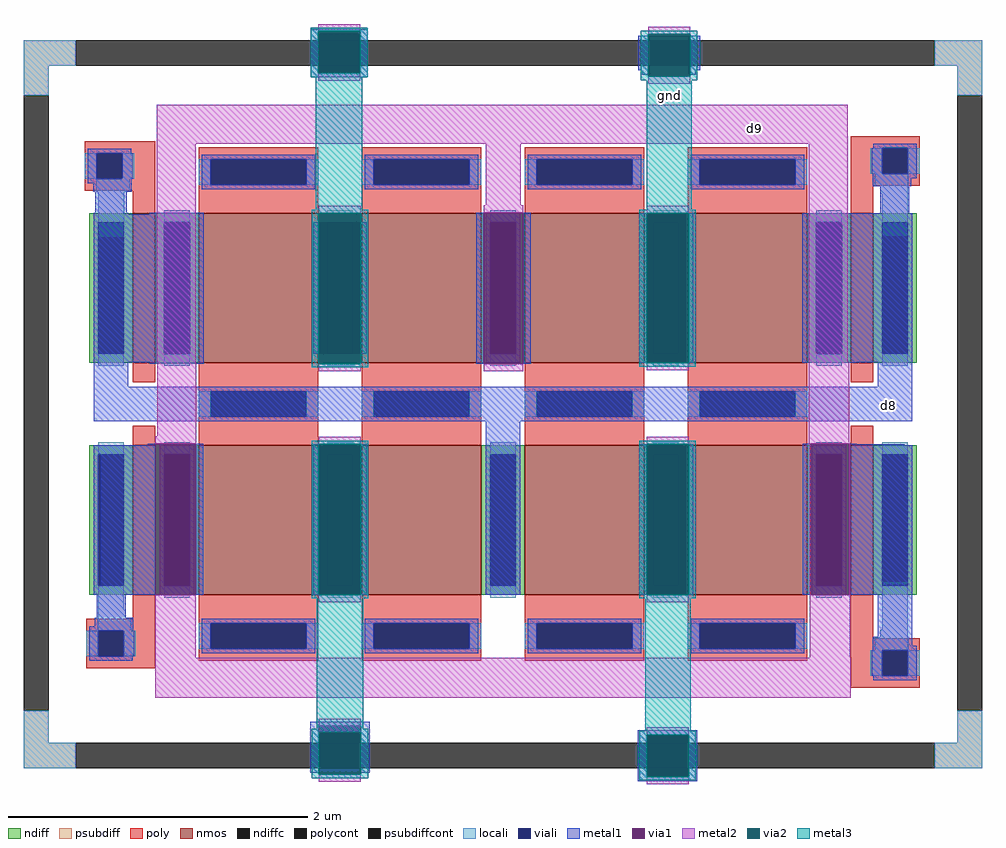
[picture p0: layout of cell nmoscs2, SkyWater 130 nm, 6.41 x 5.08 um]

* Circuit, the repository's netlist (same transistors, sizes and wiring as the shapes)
** sch_path: /home/fazya09/opamp/mag/nmoscs2.sch
.subckt nmoscs2 GND D8 D9
*.PININFO GND:B D8:B D9:B
XM9 D9 D8 GND GND sky130_fd_pr__nfet_01v8 L=0.8 W=1 nf=1 m=4
XM8 D8 D8 GND GND sky130_fd_pr__nfet_01v8 L=0.8 W=1 nf=1 m=4
XM1 D9 D9 D9 GND sky130_fd_pr__nfet_01v8 L=0.15 W=1 nf=1 m=2
XM2 D8 D8 D8 GND sky130_fd_pr__nfet_01v8 L=0.15 W=1 nf=1 m=2
.ends
.end

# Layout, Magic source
magic
tech sky130A
magscale 1 2
<< psubdiff >>
rect -176 795 -106 829
rect 1042 795 1106 829
rect -176 756 -142 795
rect 1072 756 1106 795
rect -176 -110 -142 -67
rect 1072 -110 1106 -67
rect -176 -144 -106 -110
rect 1042 -144 1106 -110
<< psubdiffcont >>
rect -106 795 1042 829
rect -176 -67 -142 756
rect 1072 -67 1106 756
rect -106 -144 1042 -110
<< poly >>
rect -94 678 0 694
rect -94 644 -78 678
rect -44 644 0 678
rect -94 628 0 644
rect -30 623 0 628
rect 930 685 1022 701
rect 930 651 972 685
rect 1006 651 1022 685
rect 930 635 1022 651
rect 930 624 960 635
rect -30 56 0 88
rect -92 40 0 56
rect -92 6 -76 40
rect -42 6 0 40
rect -92 -10 0 6
rect 930 30 960 62
rect 930 14 1022 30
rect 930 -20 972 14
rect 1006 -20 1022 14
rect 930 -36 1022 -20
<< polycont >>
rect -78 644 -44 678
rect 972 651 1006 685
rect -76 6 -42 40
rect 972 -20 1006 14
<< locali >>
rect -176 795 -106 829
rect 1042 795 1106 829
rect -176 756 -142 795
rect 1072 756 1106 795
rect 972 685 1006 686
rect -94 644 -78 678
rect -44 644 -28 678
rect 956 651 972 685
rect 1006 651 1022 685
rect -79 627 -34 644
rect 962 634 1007 651
rect -76 567 -41 627
rect 969 624 1006 634
rect 972 568 1006 624
rect -76 67 -42 88
rect -76 57 -39 67
rect -77 40 -32 57
rect 972 41 1006 104
rect -92 6 -76 40
rect -42 6 -26 40
rect 969 31 1006 41
rect 962 14 1007 31
rect -76 5 -42 6
rect 956 -20 972 14
rect 1006 -20 1022 14
rect 972 -21 1006 -20
rect -176 -110 -142 -67
rect 275 -110 280 -109
rect 1072 -110 1106 -67
rect -176 -144 -106 -110
rect 1042 -144 1106 -110
<< viali >>
rect 220 829 272 838
rect 220 795 272 829
rect 658 795 717 829
rect 220 786 272 795
rect -78 644 -44 678
rect 972 651 1006 685
rect -76 6 -42 40
rect 972 -20 1006 14
rect 219 -110 275 -88
rect 657 -110 713 -99
rect 219 -144 275 -110
rect 657 -144 713 -110
rect 657 -155 713 -144
<< metal1 >>
rect 208 838 284 844
rect 208 786 220 838
rect 272 786 284 838
rect 646 829 661 835
rect 713 829 729 835
rect 646 795 658 829
rect 717 795 729 829
rect 646 789 661 795
rect 208 780 284 786
rect 651 783 661 789
rect 713 789 729 795
rect 713 783 723 789
rect 960 685 1018 691
rect -90 678 -32 684
rect -90 644 -78 678
rect -44 644 -30 678
rect 958 651 972 685
rect 1006 651 1018 685
rect 959 645 1018 651
rect -90 638 -31 644
rect -83 627 -31 638
rect 959 634 1011 645
rect -80 599 -38 627
rect -82 597 -36 599
rect -7 597 65 599
rect -82 399 65 597
rect 211 410 221 586
rect 273 410 283 586
rect -82 366 -36 399
rect -7 397 65 399
rect 429 397 439 599
rect 492 397 502 599
rect 969 598 1008 634
rect 647 398 657 598
rect 709 398 719 598
rect 865 399 1012 598
rect 865 398 937 399
rect 966 366 1012 399
rect -82 320 1012 366
rect -10 288 0 290
rect -73 88 0 288
rect 54 88 64 290
rect 211 88 221 289
rect 273 88 283 289
rect 442 88 488 320
rect 647 88 657 289
rect 709 88 719 289
rect 866 88 876 290
rect 928 289 938 290
rect 928 288 1002 289
rect 928 88 1012 288
rect -78 57 -39 88
rect -81 46 -29 57
rect -88 40 -29 46
rect -88 6 -76 40
rect -42 6 -28 40
rect 966 32 1012 88
rect 961 31 1012 32
rect 959 20 1012 31
rect 959 14 1018 20
rect -88 0 -30 6
rect 958 -20 972 14
rect 1006 -20 1018 14
rect 960 -26 1018 -20
rect 207 -88 287 -82
rect 207 -144 219 -88
rect 275 -144 287 -88
rect 207 -150 287 -144
rect 645 -99 725 -93
rect 645 -155 657 -99
rect 713 -155 725 -99
rect 645 -161 725 -155
<< via1 >>
rect 220 786 272 838
rect 661 829 713 835
rect 661 795 713 829
rect 661 783 713 795
rect 221 410 273 586
rect 439 397 492 599
rect 657 398 709 598
rect 0 88 54 290
rect 221 88 273 289
rect 657 88 709 289
rect 876 88 928 290
rect 219 -144 275 -88
rect 657 -155 713 -99
<< metal2 >>
rect 218 841 274 851
rect 218 775 274 785
rect 659 837 715 847
rect 659 771 715 781
rect 2 691 926 743
rect 2 397 54 691
rect 442 609 489 691
rect 219 598 275 608
rect 3 300 55 397
rect 219 387 275 397
rect 439 599 492 609
rect 439 387 492 397
rect 657 598 713 608
rect 657 388 713 398
rect 874 398 926 691
rect 0 291 55 300
rect 0 290 54 291
rect 0 4 54 88
rect 219 289 275 299
rect 219 78 275 88
rect 657 289 713 299
rect 874 291 928 398
rect 874 290 929 291
rect 657 78 713 88
rect 875 88 876 290
rect 928 88 929 290
rect 875 4 929 88
rect 0 -50 930 4
rect 219 -88 275 -78
rect 219 -162 275 -152
rect 657 -99 713 -89
rect 657 -165 713 -155
<< via2 >>
rect 218 838 274 841
rect 218 786 220 838
rect 220 786 272 838
rect 272 786 274 838
rect 218 785 274 786
rect 659 835 715 837
rect 659 783 661 835
rect 661 783 713 835
rect 713 783 715 835
rect 659 781 715 783
rect 219 586 275 598
rect 219 410 221 586
rect 221 410 273 586
rect 273 410 275 586
rect 219 397 275 410
rect 657 398 709 598
rect 709 398 713 598
rect 219 88 221 289
rect 221 88 273 289
rect 273 88 275 289
rect 657 88 709 289
rect 709 88 713 289
rect 219 -144 275 -96
rect 219 -152 275 -144
rect 657 -155 713 -99
<< metal3 >>
rect 208 841 284 846
rect 208 785 218 841
rect 274 785 284 841
rect 208 780 284 785
rect 649 837 725 842
rect 649 781 659 837
rect 715 781 725 837
rect 215 603 277 780
rect 649 776 725 781
rect 657 603 717 776
rect 209 598 285 603
rect 209 397 219 598
rect 275 397 285 598
rect 209 392 285 397
rect 647 598 723 603
rect 647 398 657 598
rect 713 398 723 598
rect 647 393 723 398
rect 209 289 285 294
rect 209 88 219 289
rect 275 88 285 289
rect 209 83 285 88
rect 647 289 723 294
rect 647 88 657 289
rect 713 88 723 289
rect 647 83 723 88
rect 216 -91 278 83
rect 209 -96 285 -91
rect 655 -94 716 83
rect 209 -152 219 -96
rect 275 -152 285 -96
rect 209 -157 285 -152
rect 647 -99 723 -94
rect 647 -155 657 -99
rect 713 -155 723 -99
rect 647 -160 723 -155
use sky130_fd_pr__nfet_01v8_6MBC9T  sky130_fd_pr__nfet_01v8_6MBC9T_0
transform 1 0 683 0 1 188
box -247 -188 247 188
use sky130_fd_pr__nfet_01v8_6MBC9T  sky130_fd_pr__nfet_01v8_6MBC9T_1
transform 1 0 247 0 1 188
box -247 -188 247 188
use sky130_fd_pr__nfet_01v8_6MBC9T  sky130_fd_pr__nfet_01v8_6MBC9T_2
transform 1 0 247 0 1 498
box -247 -188 247 188
use sky130_fd_pr__nfet_01v8_6MBC9T  sky130_fd_pr__nfet_01v8_6MBC9T_3
transform 1 0 683 0 1 498
box -247 -188 247 188
use sky130_fd_pr__nfet_01v8_SJFSNB  sky130_fd_pr__nfet_01v8_SJFSNB_0
transform 1 0 945 0 1 188
box -73 -126 73 126
use sky130_fd_pr__nfet_01v8_SJFSNB  sky130_fd_pr__nfet_01v8_SJFSNB_1
transform 1 0 -15 0 1 498
box -73 -126 73 126
use sky130_fd_pr__nfet_01v8_SJFSNB  sky130_fd_pr__nfet_01v8_SJFSNB_2
transform 1 0 -15 0 1 188
box -73 -126 73 126
use sky130_fd_pr__nfet_01v8_SJFSNB  sky130_fd_pr__nfet_01v8_SJFSNB_3
transform 1 0 945 0 1 498
box -73 -126 73 126
<< labels >>
flabel metal2 792 702 811 721 0 FreeSans 480 0 0 0 d9
port 0 nsew
flabel metal3 687 754 689 756 0 FreeSans 480 0 0 0 gnd
port 1 nsew
flabel metal1 980 340 982 342 0 FreeSans 480 0 0 0 d8
port 2 nsew
<< end >>

# cell sky130_fd_pr__nfet_01v8_6MBC9T: kit device sky130_fd_pr__nfet_01v8, w 1 l 0.8 m 1 nf 2 diffcov 100 polycov 100 guard 0 glc 1 grc 1 gtc 1 gbc 1 tbcov 100 rlcov 100 topc 1 botc 1 poverlap 0 doverlap 1 lmin 0.15 wmin 0.42 compatible {sky130_fd_pr__nfet_01v8 sky130_fd_pr__nfet_01v8_lvt sky130_fd_bs_flash__special_sonosfet_star sky130_fd_pr__nfet_g5v0d10v5 sky130_fd_pr__nfet_05v0_nvt sky130_fd_pr__nfet_03v3_nvt} full_metal 1 viasrc 100 viadrn 100 viagate 100 viagb 0 viagr 0 viagl 0 viagt 0

# cell sky130_fd_pr__nfet_01v8_SJFSNB: kit device sky130_fd_pr__nfet_01v8, w 1 l 0.15 m 1 nf 1 diffcov 100 polycov 100 guard 0 glc 1 grc 1 gtc 1 gbc 1 tbcov 100 rlcov 100 topc 0 botc 0 poverlap 0 doverlap 1 lmin 0.15 wmin 0.42 compatible {sky130_fd_pr__nfet_01v8 sky130_fd_pr__nfet_01v8_lvt sky130_fd_bs_flash__special_sonosfet_star sky130_fd_pr__nfet_g5v0d10v5 sky130_fd_pr__nfet_05v0_nvt sky130_fd_pr__nfet_03v3_nvt} full_metal 1 viasrc 100 viadrn 100 viagate 100 viagb 0 viagr 0 viagl 0 viagt 0
